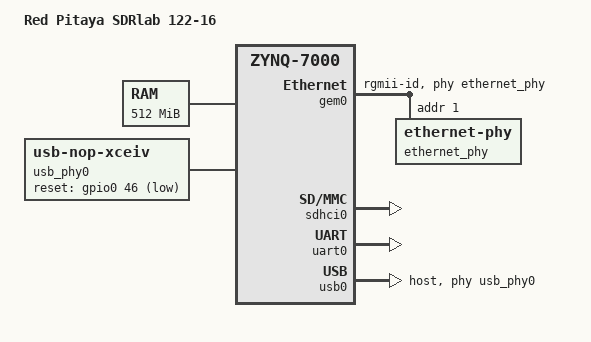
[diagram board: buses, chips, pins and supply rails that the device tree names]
// SPDX-License-Identifier: GPL-2.0+
/dts-v1/;
#include "../../../external/gpl2/dts/dist/arch/arm/boot/dts/zynq-7000.dtsi"

/ {
	model = "Red Pitaya SDRlab 122-16";
	compatible = "xlnx,zynq-7000";

	aliases {
		ethernet0 = &gem0;
		serial0 = &uart0;
	};

	memory@0 {
		device_type = "memory";
		reg = <0x0 0x20000000>;
	};

	/* The SDRlab 122-16 comes out of the box with a bootloader that
	 * (I think) loads a bitstream to the FPGA.  I reserve the same
	 * memory regions as the device tree that comes with the 122-16
	 * does, just in case the FPGA alters them.  If we can come up
	 * with a new bootloader, then I think NetBSD can use all of
	 * these regions safely.
	 */
	reserved-memory {
		#address-cells = <0x1>;
		#size-cells = <0x1>;
		ranges;

		linux,cma {
			compatible = "shared-dma-pool";
			reusable;
			size = <0x1000000>;
			alignment = <0x2000>;
			linux,cma-default;
		};

		labuf@a000000 {
			reg = <0xa000000 0x2000000>;
			linux,phandle = <0x2f>;
			phandle = <0x2f>;
		};

		buffer@1000000 {
			reg = <0x1000000 0x180000>;
			linux,phandle = <0x30>;
			phandle = <0x30>;
		};
	};

	chosen {
		bootargs = "";
		stdout-path = "serial0:115200n8";
	};

	usb_phy0: phy0 {
		#phy-cells = <0>;
		compatible = "usb-nop-xceiv";
		reset-gpios = <&gpio0 46 1>;
	};
};

&clkc {
	ps-clk-frequency = <33333333>;
};

&gem0 {
	status = "okay";
	phy-mode = "rgmii-id";
	phy-handle = <&ethernet_phy>;

	ethernet_phy: ethernet-phy@0 {
		reg = <1>;
		device_type = "ethernet-phy";
	};
};

&sdhci0 {
	status = "okay";
};

&uart0 {
	status = "okay";
};

&usb0 {
	status = "okay";
	dr_mode = "host";
	usb-phy = <&usb_phy0>;
};
